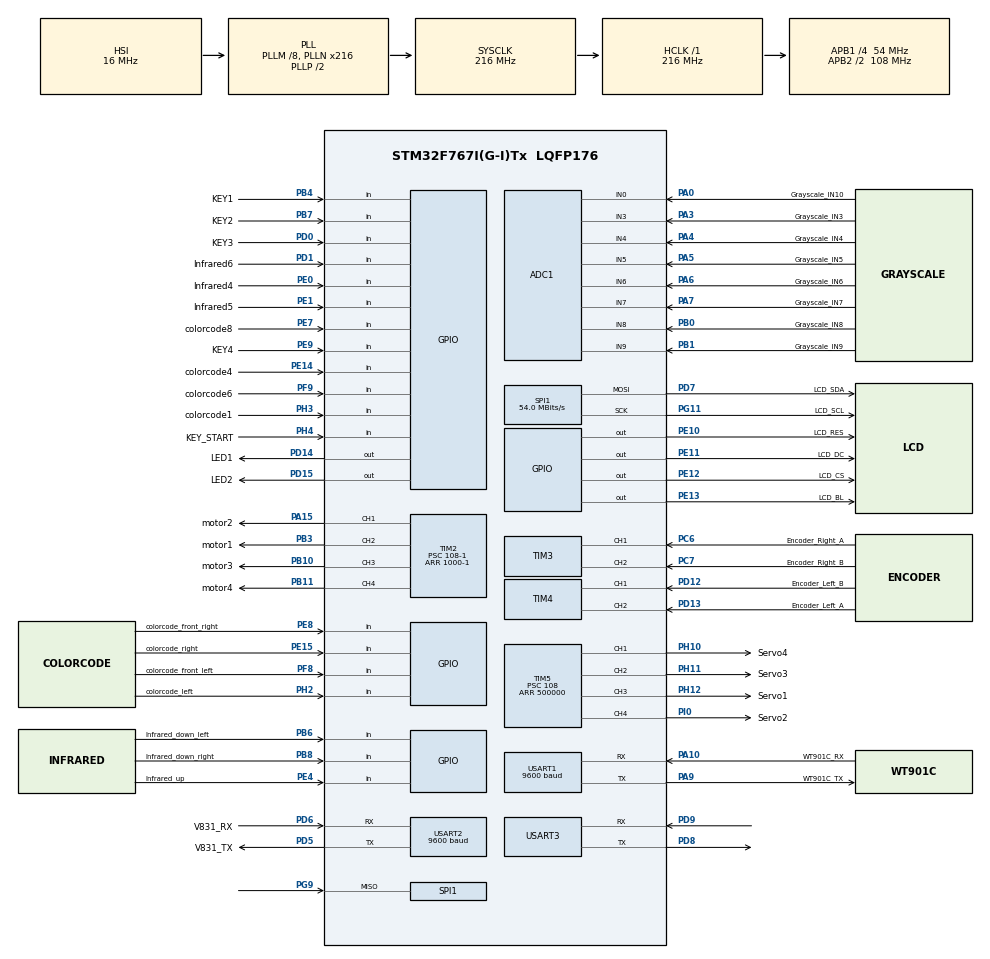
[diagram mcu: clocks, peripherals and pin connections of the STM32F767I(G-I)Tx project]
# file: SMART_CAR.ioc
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ADC1.Channel-0\#ChannelRegularConversion=ADC_CHANNEL_3
ADC1.Channel-1\#ChannelRegularConversion=ADC_CHANNEL_4
ADC1.Channel-10\#ChannelRegularConversion=ADC_CHANNEL_0
ADC1.Channel-2\#ChannelRegularConversion=ADC_CHANNEL_5
ADC1.Channel-3\#ChannelRegularConversion=ADC_CHANNEL_6
ADC1.Channel-4\#ChannelRegularConversion=ADC_CHANNEL_7
ADC1.Channel-5\#ChannelRegularConversion=ADC_CHANNEL_8
ADC1.Channel-6\#ChannelRegularConversion=ADC_CHANNEL_9
ADC1.ContinuousConvMode=ENABLE
ADC1.DMAContinuousRequests=ENABLE
ADC1.DiscontinuousConvMode=DISABLE
ADC1.NbrOfConversion=8
ADC1.NbrOfConversionFlag=1
ADC1.Rank-0\#ChannelRegularConversion=1
ADC1.Rank-1\#ChannelRegularConversion=2
ADC1.Rank-10\#ChannelRegularConversion=8
ADC1.Rank-2\#ChannelRegularConversion=3
ADC1.Rank-3\#ChannelRegularConversion=4
ADC1.Rank-4\#ChannelRegularConversion=5
ADC1.Rank-5\#ChannelRegularConversion=6
ADC1.Rank-6\#ChannelRegularConversion=7
ADC1.SamplingTime-0\#ChannelRegularConversion=ADC_SAMPLETIME_3CYCLES
ADC1.SamplingTime-1\#ChannelRegularConversion=ADC_SAMPLETIME_3CYCLES
ADC1.SamplingTime-10\#ChannelRegularConversion=ADC_SAMPLETIME_3CYCLES
ADC1.SamplingTime-2\#ChannelRegularConversion=ADC_SAMPLETIME_3CYCLES
ADC1.SamplingTime-3\#ChannelRegularConversion=ADC_SAMPLETIME_3CYCLES
ADC1.SamplingTime-4\#ChannelRegularConversion=ADC_SAMPLETIME_3CYCLES
ADC1.SamplingTime-5\#ChannelRegularConversion=ADC_SAMPLETIME_3CYCLES
ADC1.SamplingTime-6\#ChannelRegularConversion=ADC_SAMPLETIME_3CYCLES
ADC1.ScanConvMode=ADC_SCAN_ENABLE
ADC1.master=1
CORTEX_M7.default_mode_Activation=1
Dma.ADC1.0.Direction=DMA_PERIPH_TO_MEMORY
Dma.ADC1.0.FIFOMode=DMA_FIFOMODE_DISABLE
Dma.ADC1.0.Instance=DMA2_Stream0
Dma.ADC1.0.MemDataAlignment=DMA_MDATAALIGN_HALFWORD
Dma.ADC1.0.MemInc=DMA_MINC_ENABLE
Dma.ADC1.0.Mode=DMA_CIRCULAR
Dma.ADC1.0.PeriphDataAlignment=DMA_PDATAALIGN_HALFWORD
Dma.ADC1.0.PeriphInc=DMA_PINC_DISABLE
Dma.ADC1.0.Priority=DMA_PRIORITY_LOW
Dma.Request0=ADC1
FREERTOS.INCLUDE_xTaskGetCurrentTaskHandle=1
FREERTOS.Tasks01=defaultTask,24,128,StartDefaultTask,Default,NULL,Dynamic,NULL,NULL;LED_Show,25,128,StartLED_Show,Default,NULL,Dynamic,NULL,NULL;LCD_Show,26,512,StartLCD_Show,Default,NULL,Dynamic,NULL,NULL
Mcu.Family=STM32F7
Mcu.Name=STM32F767I(G-I)Tx
Mcu.Package=LQFP176
NVIC.DMA2_Stream0_IRQn=true\:5\:0\:false\:false\:true\:true\:false\:true\:true
NVIC.PriorityGroup=NVIC_PRIORITYGROUP_4
NVIC.TIM1_UP_TIM10_IRQn=true\:15\:0\:true\:false\:true\:false\:false\:true\:true
NVIC.TIM3_IRQn=true\:5\:0\:false\:false\:true\:true\:true\:true\:true
NVIC.TIM4_IRQn=true\:5\:0\:false\:false\:true\:true\:true\:true\:true
NVIC.TIM5_IRQn=true\:5\:0\:false\:false\:true\:true\:true\:true\:true
NVIC.TimeBase=TIM1_UP_TIM10_IRQn
NVIC.TimeBaseIP=TIM1
NVIC.USART1_IRQn=true\:5\:0\:false\:false\:true\:true\:true\:true\:true
NVIC.USART2_IRQn=true\:5\:0\:false\:false\:true\:true\:true\:true\:true
PA0/WKUP.GPIO_Label=Grayscale_IN10
PA0/WKUP.GPIO_Mode=GPIO_MODE_ANALOG
PA0/WKUP.Signal=ADCx_IN0
PA10.GPIO_Label=WT901C_RX
PA10.Mode=Asynchronous
PA10.Signal=USART1_RX
PA13.Mode=Serial_Wire
PA13.Signal=SYS_JTMS-SWDIO
PA14.Mode=Serial_Wire
PA14.Signal=SYS_JTCK-SWCLK
PA15.GPIO_Label=motor2
PA15.Signal=S_TIM2_CH1_ETR
PA3.GPIO_Label=Grayscale_IN3
PA3.Signal=ADCx_IN3
PA4.GPIO_Label=Grayscale_IN4
PA4.Signal=ADCx_IN4
PA5.GPIO_Label=Grayscale_IN5
PA5.Signal=ADCx_IN5
PA6.GPIO_Label=Grayscale_IN6
PA6.Signal=ADCx_IN6
PA7.GPIO_Label=Grayscale_IN7
PA7.Signal=ADCx_IN7
PA9.GPIO_Label=WT901C_TX
PA9.Mode=Asynchronous
PA9.Signal=USART1_TX
PB0.GPIO_Label=Grayscale_IN8
PB0.Signal=ADCx_IN8
PB1.GPIO_Label=Grayscale_IN9
PB1.Signal=ADCx_IN9
PB10.GPIO_Label=motor3
PB10.Signal=S_TIM2_CH3
PB11.GPIO_Label=motor4
PB11.Signal=S_TIM2_CH4
PB3.GPIO_Label=motor1
PB3.Signal=S_TIM2_CH2
PB4.GPIO_Label=KEY1
PB4.GPIO_PuPd=GPIO_PULLUP
PB4.Signal=GPIO_Input
PB6.GPIO_Label=Infrared_down_left
PB6.GPIO_PuPd=GPIO_PULLUP
PB6.Signal=GPIO_Input
PB7.GPIO_Label=KEY2
PB7.GPIO_PuPd=GPIO_PULLUP
PB7.Signal=GPIO_Input
PB8.GPIO_Label=Infrared_down_right
PB8.GPIO_PuPd=GPIO_PULLUP
PB8.Signal=GPIO_Input
PC14/OSC32_IN.Mode=LSE-External-Oscillator
PC14/OSC32_IN.Signal=RCC_OSC32_IN
PC15/OSC32_OUT.Mode=LSE-External-Oscillator
PC15/OSC32_OUT.Signal=RCC_OSC32_OUT
PC6.GPIO_Label=Encoder_Right_A
PC6.Signal=S_TIM3_CH1
PC7.GPIO_Label=Encoder_Right_B
PC7.Signal=S_TIM3_CH2
PD0.GPIO_Label=KEY3
PD0.GPIO_PuPd=GPIO_PULLUP
PD0.Signal=GPIO_Input
PD1.GPIO_Label=Infrared6
PD1.GPIO_PuPd=GPIO_PULLUP
PD1.Signal=GPIO_Input
PD12.GPIO_Label=Encoder_Left_B
PD12.Signal=S_TIM4_CH1
PD13.GPIO_Label=Encoder_Left_A
PD13.Signal=S_TIM4_CH2
PD14.GPIO_Label=LED1
PD14.GPIO_PuPd=GPIO_PULLUP
PD14.PinState=GPIO_PIN_SET
PD14.Signal=GPIO_Output
PD15.GPIO_Label=LED2
PD15.GPIO_PuPd=GPIO_PULLUP
PD15.PinState=GPIO_PIN_SET
PD15.Signal=GPIO_Output
PD5.GPIO_Label=V831_TX
PD5.Mode=Asynchronous
PD5.Signal=USART2_TX
PD6.GPIO_Label=V831_RX
PD6.Mode=Asynchronous
PD6.Signal=USART2_RX
PD7.GPIO_Label=LCD_SDA
PD7.Mode=Full_Duplex_Master
PD7.Signal=SPI1_MOSI
PD8.Mode=Asynchronous
PD8.Signal=USART3_TX
PD9.Mode=Asynchronous
PD9.Signal=USART3_RX
PE0.GPIO_Label=Infrared4
PE0.GPIO_PuPd=GPIO_PULLUP
PE0.Signal=GPIO_Input
PE1.GPIO_Label=Infrared5
PE1.GPIO_PuPd=GPIO_PULLUP
PE1.Signal=GPIO_Input
PE10.GPIO_Label=LCD_RES
PE10.GPIO_PuPd=GPIO_PULLUP
PE10.PinState=GPIO_PIN_SET
PE10.Signal=GPIO_Output
PE11.GPIO_Label=LCD_DC
PE11.GPIO_PuPd=GPIO_PULLUP
PE11.PinState=GPIO_PIN_SET
PE11.Signal=GPIO_Output
PE12.GPIO_Label=LCD_CS
PE12.GPIO_PuPd=GPIO_PULLUP
PE12.PinState=GPIO_PIN_SET
PE12.Signal=GPIO_Output
PE13.GPIO_Label=LCD_BL
PE13.GPIO_PuPd=GPIO_PULLUP
PE13.PinState=GPIO_PIN_SET
PE13.Signal=GPIO_Output
PE14.GPIO_Label=colorcode4
PE14.GPIO_PuPd=GPIO_PULLUP
PE14.Signal=GPIO_Input
PE15.GPIO_Label=colorcode_right
PE15.GPIO_PuPd=GPIO_PULLUP
PE15.Signal=GPIO_Input
PE4.GPIO_Label=Infrared_up
PE4.GPIO_PuPd=GPIO_PULLUP
PE4.Signal=GPIO_Input
PE7.GPIO_Label=colorcode8
PE7.GPIO_PuPd=GPIO_PULLUP
PE7.Signal=GPIO_Input
PE8.GPIO_Label=colorcode_front_right
PE8.GPIO_PuPd=GPIO_PULLUP
PE8.Signal=GPIO_Input
PE9.GPIO_Label=KEY4
PE9.GPIO_PuPd=GPIO_PULLUP
PE9.Signal=GPIO_Input
PF8.GPIO_Label=colorcode_front_left
PF8.GPIO_PuPd=GPIO_PULLUP
PF8.Signal=GPIO_Input
PF9.GPIO_Label=colorcode6
PF9.GPIO_PuPd=GPIO_PULLUP
PF9.Signal=GPIO_Input
PG11.GPIO_Label=LCD_SCL
PG11.Mode=Full_Duplex_Master
PG11.Signal=SPI1_SCK
PG9.Mode=Full_Duplex_Master
PG9.Signal=SPI1_MISO
PH0/OSC_IN.Mode=HSE-External-Oscillator
PH0/OSC_IN.Signal=RCC_OSC_IN
PH1/OSC_OUT.Mode=HSE-External-Oscillator
PH1/OSC_OUT.Signal=RCC_OSC_OUT
PH10.GPIO_Label=Servo4
PH10.Signal=S_TIM5_CH1
PH11.GPIO_Label=Servo3
PH11.Signal=S_TIM5_CH2
PH12.GPIO_Label=Servo1
PH12.Signal=S_TIM5_CH3
PH2.GPIO_Label=colorcode_left
PH2.GPIO_PuPd=GPIO_PULLUP
PH2.Signal=GPIO_Input
PH3.GPIO_Label=colorcode1
PH3.GPIO_PuPd=GPIO_PULLUP
PH3.Signal=GPIO_Input
PH4.GPIO_Label=KEY_START
PH4.GPIO_PuPd=GPIO_PULLUP
PH4.Signal=GPIO_Input
PI0.GPIO_Label=Servo2
PI0.Signal=S_TIM5_CH4
ProjectManager.HeapSize=0x200
ProjectManager.StackSize=0x400
ProjectManager.TargetToolchain=MDK-ARM V5
RCC.AHBFreq_Value=216000000
RCC.APB1CLKDivider=RCC_HCLK_DIV4
RCC.APB1Freq_Value=54000000
RCC.APB1TimFreq_Value=108000000
RCC.APB2CLKDivider=RCC_HCLK_DIV2
RCC.APB2Freq_Value=108000000
RCC.APB2TimFreq_Value=216000000
RCC.CortexFreq_Value=216000000
RCC.HCLKFreq_Value=216000000
RCC.HSE_VALUE=25000000
RCC.HSI_VALUE=16000000
RCC.PLLM=8
RCC.PLLN=216
RCC.SYSCLKFreq_VALUE=216000000
RCC.SYSCLKSource=RCC_SYSCLKSOURCE_PLLCLK
RCC.USBFreq_Value=216000000
RCC.VCOOutputFreq_Value=432000000
SH.ADCx_IN0.0=ADC1_IN0,IN0
SH.ADCx_IN3.0=ADC1_IN3,IN3
SH.ADCx_IN4.0=ADC1_IN4,IN4
SH.ADCx_IN5.0=ADC1_IN5,IN5
SH.ADCx_IN6.0=ADC1_IN6,IN6
SH.ADCx_IN7.0=ADC1_IN7,IN7
SH.ADCx_IN8.0=ADC1_IN8,IN8
SH.ADCx_IN9.0=ADC1_IN9,IN9
SH.S_TIM2_CH1_ETR.0=TIM2_CH1,PWM Generation1 CH1
SH.S_TIM2_CH2.0=TIM2_CH2,PWM Generation2 CH2
SH.S_TIM2_CH3.0=TIM2_CH3,PWM Generation3 CH3
SH.S_TIM2_CH4.0=TIM2_CH4,PWM Generation4 CH4
SH.S_TIM3_CH1.0=TIM3_CH1,Encoder_Interface
SH.S_TIM3_CH2.0=TIM3_CH2,Encoder_Interface
SH.S_TIM4_CH1.0=TIM4_CH1,Encoder_Interface
SH.S_TIM4_CH2.0=TIM4_CH2,Encoder_Interface
SH.S_TIM5_CH1.0=TIM5_CH1,PWM Generation1 CH1
SH.S_TIM5_CH2.0=TIM5_CH2,PWM Generation2 CH2
SH.S_TIM5_CH3.0=TIM5_CH3,PWM Generation3 CH3
SH.S_TIM5_CH4.0=TIM5_CH4,Output Compare4 CH4
SPI1.BaudRatePrescaler=SPI_BAUDRATEPRESCALER_2
SPI1.CalculateBaudRate=54.0 MBits/s
SPI1.DataSize=SPI_DATASIZE_8BIT
SPI1.Direction=SPI_DIRECTION_2LINES
SPI1.Mode=SPI_MODE_MASTER
SPI1.VirtualType=VM_MASTER
TIM2.AutoReloadPreload=TIM_AUTORELOAD_PRELOAD_ENABLE
TIM2.Channel-PWM\ Generation1\ CH1=TIM_CHANNEL_1
TIM2.Channel-PWM\ Generation2\ CH2=TIM_CHANNEL_2
TIM2.Channel-PWM\ Generation3\ CH3=TIM_CHANNEL_3
TIM2.Channel-PWM\ Generation4\ CH4=TIM_CHANNEL_4
TIM2.Period=1000-1
TIM2.Prescaler=108-1
TIM3.AutoReloadPreload=TIM_AUTORELOAD_PRELOAD_ENABLE
TIM3.CounterMode=TIM_COUNTERMODE_UP
TIM3.EncoderMode=TIM_ENCODERMODE_TI12
TIM3.IC2Polarity=TIM_ICPOLARITY_FALLING
TIM4.AutoReloadPreload=TIM_AUTORELOAD_PRELOAD_ENABLE
TIM4.CounterMode=TIM_COUNTERMODE_UP
TIM4.EncoderMode=TIM_ENCODERMODE_TI12
TIM4.IC2Polarity=TIM_ICPOLARITY_FALLING
TIM5.Channel-Output\ Compare4\ CH4=TIM_CHANNEL_4
TIM5.Channel-PWM\ Generation1\ CH1=TIM_CHANNEL_1
TIM5.Channel-PWM\ Generation2\ CH2=TIM_CHANNEL_2
TIM5.Channel-PWM\ Generation3\ CH3=TIM_CHANNEL_3
TIM5.Period=500000
TIM5.Prescaler=108
USART1.BaudRate=9600
USART1.DMADisableonRxErrorParam=ADVFEATURE_DMA_DISABLEONRXERROR
USART1.VirtualMode-Asynchronous=VM_ASYNC
USART2.BaudRate=9600
USART2.VirtualMode-Asynchronous=VM_ASYNC
USART3.VirtualMode-Asynchronous=VM_ASYNC
VP_FREERTOS_VS_CMSIS_V2.Mode=CMSIS_V2
VP_SYS_VS_tim1.Mode=TIM1
VP_TIM2_VS_ClockSourceINT.Mode=Internal
VP_TIM5_VS_ClockSourceINT.Mode=Internal
board=custom

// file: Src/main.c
/* USER CODE BEGIN Header */
/**
  ******************************************************************************
  * @file           : main.c
  * @brief          : Main program body
  ******************************************************************************
  * @attention
  *
  * Copyright (c) 2025 STMicroelectronics.
  * All rights reserved.
  *
  * This software is licensed under terms that can be found in the LICENSE file
  * in the root directory of this software component.
  * If no LICENSE file comes with this software, it is provided AS-IS.
  *
  ******************************************************************************
  */
/* USER CODE END Header */
#include "main.h"
#include "cmsis_os.h"
#include "adc.h"
#include "dma.h"
#include "spi.h"
#include "tim.h"
#include "usart.h"
#include "gpio.h"

/* USER CODE BEGIN Includes */
#include "pack.h"
/* USER CODE END Includes */

/* USER CODE BEGIN PTD */
typedef enum //串口接收状态标志位
{
	WAIT_HEAD1,//等待帧头0x55
	WAIT_HEAD2,//等待帧头0x53
	WAIT_DATA,//帧头接收完成等待数据
	DATA_OK//数据接收完成
}UART_RxFlag;
/* USER CODE END PTD */

/* USER CODE BEGIN PD */
UART_RxFlag GyroscopeRxFlag = WAIT_HEAD1;//姿态传感器串口接收状态
/* USER CODE END PD */

void SystemClock_Config(void);
static void MPU_Config(void);
void MX_FREERTOS_Init(void);

int main(void)
{

  /* MPU Configuration--------------------------------------------------------*/
  MPU_Config();

  /* MCU Configuration--------------------------------------------------------*/

  /* Reset of all peripherals, Initializes the Flash interface and the Systick. */
  HAL_Init();

  /* Configure the system clock */
  SystemClock_Config();

  /* Initialize all configured peripherals */
  MX_GPIO_Init();
  MX_DMA_Init();
  MX_TIM3_Init();
  MX_TIM4_Init();
  MX_ADC1_Init();
  MX_USART1_UART_Init();
  MX_USART2_UART_Init();
  MX_SPI1_Init();
  MX_TIM5_Init();
  MX_TIM2_Init();
  MX_USART3_UART_Init();
  /* USER CODE BEGIN 2 */
  Pack_Init();
  /* USER CODE END 2 */

  /* Init scheduler */
  osKernelInitialize();

  /* Call init function for freertos objects (in cmsis_os2.c) */
  MX_FREERTOS_Init();

  /* Start scheduler */
  osKernelStart();

  /* We should never get here as control is now taken by the scheduler */

  /* Infinite loop */
  while (1)
  {

  }
}

void SystemClock_Config(void)
{
  RCC_OscInitTypeDef RCC_OscInitStruct = {0};
  RCC_ClkInitTypeDef RCC_ClkInitStruct = {0};

  /** Configure LSE Drive Capability
  */
  HAL_PWR_EnableBkUpAccess();

  /** Configure the main internal regulator output voltage
  */
  __HAL_RCC_PWR_CLK_ENABLE();
  __HAL_PWR_VOLTAGESCALING_CONFIG(PWR_REGULATOR_VOLTAGE_SCALE1);

  /** Initializes the RCC Oscillators according to the specified parameters
  * in the RCC_OscInitTypeDef structure.
  */
  RCC_OscInitStruct.OscillatorType = RCC_OSCILLATORTYPE_HSI;
  RCC_OscInitStruct.HSIState = RCC_HSI_ON;
  RCC_OscInitStruct.HSICalibrationValue = RCC_HSICALIBRATION_DEFAULT;
  RCC_OscInitStruct.PLL.PLLState = RCC_PLL_ON;
  RCC_OscInitStruct.PLL.PLLSource = RCC_PLLSOURCE_HSI;
  RCC_OscInitStruct.PLL.PLLM = 8;
  RCC_OscInitStruct.PLL.PLLN = 216;
  RCC_OscInitStruct.PLL.PLLP = RCC_PLLP_DIV2;
  RCC_OscInitStruct.PLL.PLLQ = 2;
  RCC_OscInitStruct.PLL.PLLR = 2;
  if (HAL_RCC_OscConfig(&RCC_OscInitStruct) != HAL_OK)
  {
    Error_Handler();
  }

  /** Activate the Over-Drive mode
  */
  if (HAL_PWREx_EnableOverDrive() != HAL_OK)
  {
    Error_Handler();
  }

  /** Initializes the CPU, AHB and APB buses clocks
  */
  RCC_ClkInitStruct.ClockType = RCC_CLOCKTYPE_HCLK|RCC_CLOCKTYPE_SYSCLK
                              |RCC_CLOCKTYPE_PCLK1|RCC_CLOCKTYPE_PCLK2;
  RCC_ClkInitStruct.SYSCLKSource = RCC_SYSCLKSOURCE_PLLCLK;
  RCC_ClkInitStruct.AHBCLKDivider = RCC_SYSCLK_DIV1;
  RCC_ClkInitStruct.APB1CLKDivider = RCC_HCLK_DIV4;
  RCC_ClkInitStruct.APB2CLKDivider = RCC_HCLK_DIV2;

  if (HAL_RCC_ClockConfig(&RCC_ClkInitStruct, FLASH_LATENCY_7) != HAL_OK)
  {
    Error_Handler();
  }
}

/* USER CODE BEGIN 4 */
/*串口接收中断回调函数，处理陀螺仪及摄像头数据*/
void HAL_UART_RxCpltCallback(UART_HandleTypeDef *huart)
{
	if (huart == &huart1)
	{
		switch(GyroscopeRxFlag)
		{
			case WAIT_HEAD1:
			{
				if(GyrRxHeadBuffer[0]==0x55)
				{
					GyroscopeRxFlag=WAIT_HEAD2;
					HAL_UART_Receive_IT(&huart1,GyrRxHeadBuffer,1);
				}else{
					HAL_UART_Receive_IT(&huart1,GyrRxHeadBuffer,1);
				}
				break ;
			}
			case WAIT_HEAD2:
			{
				if(GyrRxHeadBuffer[0]==0x53)
				{
					GyroscopeRxFlag=WAIT_DATA;
					HAL_UART_Receive_IT(&huart1,GyrRxDataBuffer,9);
				}else{
					GyroscopeRxFlag=WAIT_HEAD1;
					HAL_UART_Receive_IT(&huart1,GyrRxHeadBuffer,1);
				}
				break ;
			}
			case WAIT_DATA:
			{
				GyroscopeRxFlag=WAIT_HEAD1;
				HAL_UART_Receive_IT(&huart1,GyrRxHeadBuffer,1);
				break ;
			}
			default:
				break ;
		}
	}
}
/* USER CODE END 4 */

 /* MPU Configuration */

void MPU_Config(void)
{
  MPU_Region_InitTypeDef MPU_InitStruct = {0};

  /* Disables the MPU */
  HAL_MPU_Disable();

  /** Initializes and configures the Region and the memory to be protected
  */
  MPU_InitStruct.Enable = MPU_REGION_ENABLE;
  MPU_InitStruct.Number = MPU_REGION_NUMBER0;
  MPU_InitStruct.BaseAddress = 0x0;
  MPU_InitStruct.Size = MPU_REGION_SIZE_4GB;
  MPU_InitStruct.SubRegionDisable = 0x87;
  MPU_InitStruct.TypeExtField = MPU_TEX_LEVEL0;
  MPU_InitStruct.AccessPermission = MPU_REGION_NO_ACCESS;
  MPU_InitStruct.DisableExec = MPU_INSTRUCTION_ACCESS_DISABLE;
  MPU_InitStruct.IsShareable = MPU_ACCESS_SHAREABLE;
  MPU_InitStruct.IsCacheable = MPU_ACCESS_NOT_CACHEABLE;
  MPU_InitStruct.IsBufferable = MPU_ACCESS_NOT_BUFFERABLE;

  HAL_MPU_ConfigRegion(&MPU_InitStruct);
  /* Enables the MPU */
  HAL_MPU_Enable(MPU_PRIVILEGED_DEFAULT);

}

void HAL_TIM_PeriodElapsedCallback(TIM_HandleTypeDef *htim)
{
  if (htim->Instance == TIM1)
  {
    HAL_IncTick();
  }
  /* USER CODE BEGIN Callback 1 */

  /* 发生了一次更新中断，判断是下溢还是上溢*/
  if(htim == &htim3)
  {
	  if(__HAL_TIM_IS_TIM_COUNTING_DOWN(&htim3))/*判断TIM3是否在向下计数，为真则是在向下计数，为假是在向上计数*/
	  {
	  	 Encoder_Left_Overflow_Count--;//反转过程中溢出
	  }
	  else
	  {
	  	 Encoder_Left_Overflow_Count++;//正转过程中溢出
	  }
  }
  if(htim == &htim4)
  {
	  if(__HAL_TIM_IS_TIM_COUNTING_DOWN(&htim4))
	  {
		  Encoder_Right_Overflow_Count--;
	  }
	  else
	  {
		  Encoder_Right_Overflow_Count++;
	  }
  }
  /* USER CODE END Callback 1 */
}

void Error_Handler(void)
{
  /* USER CODE BEGIN Error_Handler_Debug */
  /* User can add his own implementation to report the HAL error return state */
  __disable_irq();
  while (1)
  {
	  break;
  }
  /* USER CODE END Error_Handler_Debug */
}

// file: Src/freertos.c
/* USER CODE BEGIN Header */
/**
  ******************************************************************************
  * File Name          : freertos.c
  * Description        : Code for freertos applications
  ******************************************************************************
  * @attention
  *
  * Copyright (c) 2025 STMicroelectronics.
  * All rights reserved.
  *
  * This software is licensed under terms that can be found in the LICENSE file
  * in the root directory of this software component.
  * If no LICENSE file comes with this software, it is provided AS-IS.
  *
  ******************************************************************************
  */
/* USER CODE END Header */

#include "FreeRTOS.h"
#include "task.h"
#include "main.h"
#include "cmsis_os.h"

/* USER CODE BEGIN Includes */
#include "pack.h"
#include "test.h"
/* USER CODE END Includes */

/* Definitions for defaultTask */
osThreadId_t defaultTaskHandle;
const osThreadAttr_t defaultTask_attributes = {
  .name = "defaultTask",
  .stack_size = 128 * 4,
  .priority = (osPriority_t) osPriorityNormal,
};
/* Definitions for LED_Show */
osThreadId_t LED_ShowHandle;
const osThreadAttr_t LED_Show_attributes = {
  .name = "LED_Show",
  .stack_size = 128 * 4,
  .priority = (osPriority_t) osPriorityNormal1,
};
/* Definitions for LCD_Show */
osThreadId_t LCD_ShowHandle;
const osThreadAttr_t LCD_Show_attributes = {
  .name = "LCD_Show",
  .stack_size = 512 * 4,
  .priority = (osPriority_t) osPriorityNormal2,
};

void StartDefaultTask(void *argument);
void StartLED_Show(void *argument);
void StartLCD_Show(void *argument);

void MX_FREERTOS_Init(void); /* (MISRA C 2004 rule 8.1) */

void MX_FREERTOS_Init(void) {

  /* Create the thread(s) */
  /* creation of defaultTask */
  defaultTaskHandle = osThreadNew(StartDefaultTask, NULL, &defaultTask_attributes);

  /* creation of LED_Show */
  LED_ShowHandle = osThreadNew(StartLED_Show, NULL, &LED_Show_attributes);

  /* creation of LCD_Show */
  LCD_ShowHandle = osThreadNew(StartLCD_Show, NULL, &LCD_Show_attributes);

}

void StartDefaultTask(void *argument)
{
  for(;;)
  {
    osDelay(1);
  }
}

void StartLED_Show(void *argument)
{
  /* USER CODE BEGIN StartLED_Show */
  /* Infinite loop */
  for(;;)
  {
	__All_Data_Handler();
    osDelay(1);
  }
  /* USER CODE END StartLED_Show */
}

void StartLCD_Show(void *argument)
{
  /* USER CODE BEGIN StartLCD_Show */
  /* Infinite loop */
  for(;;)
  {
	LCD_Show();
    osDelay(1);
  }
  /* USER CODE END StartLCD_Show */
}
